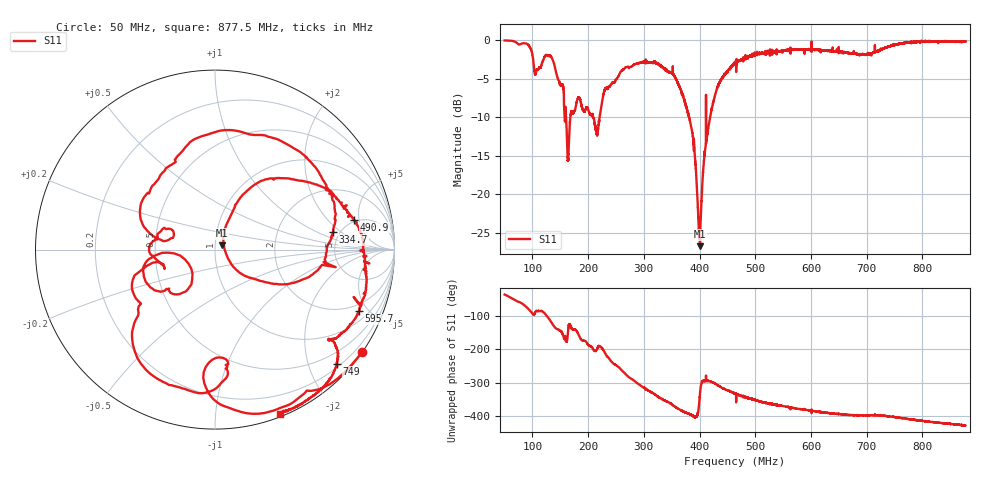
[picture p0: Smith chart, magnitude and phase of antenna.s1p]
! Calibrated NanoVNA antenna measurement, band-limited to the calibrated dynamic range
! Samples with nonfinite or |Gamma| >= 1 were excluded; see broadband-excluded.json
# Hz S RI R 50
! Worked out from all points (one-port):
!   28782 points, 50 MHz to 877.5 MHz, reference 50 ohm
!   lowest |S11| = -26.7 dB at 400.8 MHz (marker M1), VSWR 1.10, Z = 54 + j2.71 ohm
!   |S11| at or under -10 dB: 160.5 MHz to 168 MHz (7.541 MHz wide, 4.59 % of centre); 209.4 MHz to 220.6 MHz (11.25 MHz wide, 5.23 % of centre); 381.3 MHz to 411.7 MHz (30.35 MHz wide, 7.65 % of centre)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
!   S11 on the Smith chart (normalised r, x): 50 MHz: 0.01, -3.19; 334.7 MHz: 4.40, +1.57; 490.9 MHz: 4.72, +4.23; 595.7 MHz: 1.52, -4.39; 749 MHz: 0.26, -2.50; 877.5 MHz: 0.02, -1.46
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5e7  0.8196 -0.5692
9.298125e7  0.1826 -0.9124
1.003125e8  -0.0398 -0.7903
1.066088e8  0.0686 -0.6206
1.184825e8  0.048 -0.7291
1.292638e8  -0.2262 -0.7601
1.386938e8  -0.4544 -0.5417
1.534425e8  -0.4524 -0.2543
1.644825e8  -0.1271 -0.1232
1.827962e8  -0.3856 -0.1765
2.1629e8  -0.2311 0.0712
2.291125e8  -0.4185 0.2153
2.56885e8  -0.1431 0.5922
2.881938e8  0.3692 0.6042
3.346825e8  0.6586 0.0995
3.602988e8  0.5107 -0.1567
3.859725e8  0.2105 -0.1614
4.008362e8  0.0387 0.025
4.103525e8  0.083 0.1808
4.23635e8  0.1855 0.3332
4.637412e8  0.6322 0.3273
4.908525e8  0.774 0.1672
5.671838e8  0.839 -0.2379
5.957038e8  0.8036 -0.3428
6.705975e8  0.6551 -0.4986
7.489988e8  0.679 -0.6366
7.7404e8  0.6314 -0.7323
8.774538e8  0.3564 -0.918
